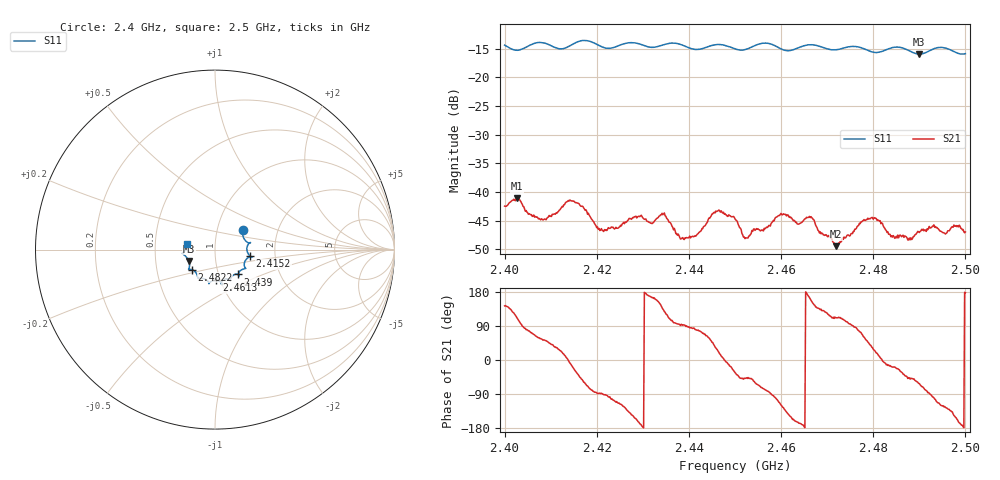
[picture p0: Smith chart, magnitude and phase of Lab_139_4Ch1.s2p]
# Hz S RI R 50
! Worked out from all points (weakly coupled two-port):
!   601 points, 2.4 GHz to 2.5 GHz, reference 50 ohm
!   highest |S21| = -41.13 dB at 2.4027 GHz (marker M1); lowest = -49.5 dB at 2.472 GHz (marker M2)
!   lowest |S11| = -15.9 dB at 2.49 GHz (marker M3), VSWR 1.38, Z = 37 - j4.8 ohm
!   |S11| at or under -10 dB: start of sweep to end of sweep
!   S12 and S22 are empty: the file has one direction only
!   S11 on the Smith chart (normalised r, x): 2.4 GHz: 1.33, +0.31; 2.4152 GHz: 1.48, -0.11; 2.439 GHz: 1.24, -0.35; 2.4613 GHz: 0.96, -0.34; 2.4822 GHz: 0.76, -0.17; 2.5 GHz: 0.73, +0.05
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2.4e9  0.1557 0.1111  -0.00599 0.00455  0 0  0 0
2.402667e9  0.1589 0.0668  -0.0032 0.00818  0 0  0 0
2.408167e9  0.1973 0.0396  0.00336 0.0047  0 0  0 0
2.415167e9  0.1951 -0.0361  0.00737 -0.0036  0 0  0 0
2.416667e9  0.205 -0.0422  0.00479 -0.00576  0 0  0 0
2.421167e9  0.1774 -0.0509  7.69e-05 -0.00463  0 0  0 0
2.433333e9  0.1319 -0.1321  -0.00539 0.00259  0 0  0 0
2.434667e9  0.131 -0.1426  -0.00401 0.00519  0 0  0 0
2.439e9  0.128 -0.1382  -0.000153 0.00385  0 0  0 0
2.446e9  0.0857 -0.1735  0.00589 0.00329  0 0  0 0
2.45e9  0.0691 -0.1635  0.00488 -0.00317  0 0  0 0
2.452333e9  0.0437 -0.17  0.00266 -0.00295  0 0  0 0
2.461333e9  0.00719 -0.171  -0.0048 -0.00408  0 0  0 0
2.463667e9  -0.0244 -0.1793  -0.00505 -0.00142  0 0  0 0
2.466667e9  -0.0337 -0.1899  -0.00537 0.00257  0 0  0 0
2.472e9  -0.0658 -0.1614  -0.00124 0.00313  0 0  0 0
2.478333e9  -0.0982 -0.1454  0.00327 0.0046  0 0  0 0
2.482167e9  -0.1283 -0.1117  0.00505 -0.000376  0 0  0 0
2.483333e9  -0.1396 -0.1099  0.00416 -0.000975  0 0  0 0
2.488e9  -0.1418 -0.0924  0.00243 -0.00294  0 0  0 0
2.49e9  -0.1466 -0.0633  0.00206 -0.00391  0 0  0 0
2.5e9  -0.1575 0.0336  -0.00447 0.000183  0 0  0 0
